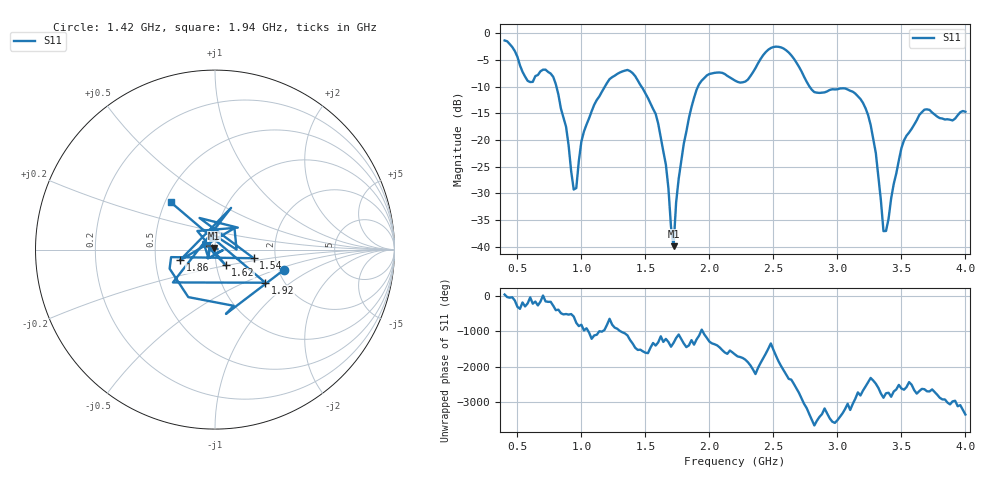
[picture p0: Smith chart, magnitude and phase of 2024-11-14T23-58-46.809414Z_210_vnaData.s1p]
!Created with skrf (http://scikit-rf.org).
# Hz S RI R 50.0
!freq ReS11 ImS11
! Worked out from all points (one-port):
!   181 points, 400 MHz to 4 GHz, reference 50 ohm
!   lowest |S11| = -39.9 dB at 1.72 GHz (marker M1), VSWR 1.02, Z = 49.5 + j0.873 ohm
!   |S11| at or under -10 dB: 805.2 MHz to 1.183 GHz (377.4 MHz wide, 38 % of centre); 1.47 GHz to 1.91 GHz (440.1 MHz wide, 26 % of centre); 2.784 GHz to end of sweep
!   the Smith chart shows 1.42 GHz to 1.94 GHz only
!   S11 on the Smith chart (normalised r, x): 1.42 GHz: 2.13, -0.58; 1.54 GHz: 1.54, -0.16; 1.62 GHz: 1.11, -0.20; 1.86 GHz: 0.67, -0.08; 1.92 GHz: 1.61, -0.67; 1.94 GHz: 0.53, +0.33
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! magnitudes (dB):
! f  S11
! 400 MHz  -1.3
! 580 MHz  -8.9
! 780 MHz  -8.1
! 860 MHz  -15.8
! 940 MHz  -29.3
! 960 MHz  -29.0
! 1 GHz  -20.2
! 1.04 GHz  -17.1
! 1.3 GHz  -7.3
! 1.42 GHz  -8.0
! 1.54 GHz  -13.1
! 1.62 GHz  -19.5
! 1.66 GHz  -24.6
! 1.72 GHz  -39.9
! 1.76 GHz  -27.2
! 1.86 GHz  -13.8
! 1.92 GHz  -9.5
! 1.94 GHz  -8.8
! 2.2 GHz  -8.8
! 2.5 GHz  -2.5
! 2.66 GHz  -4.7
! 2.82 GHz  -11.0
! 3.1 GHz  -10.7
! 3.26 GHz  -17.2
! 3.36 GHz  -37.1
! 3.56 GHz  -18.6
! 3.68 GHz  -14.3
! 4 GHz  -14.7
